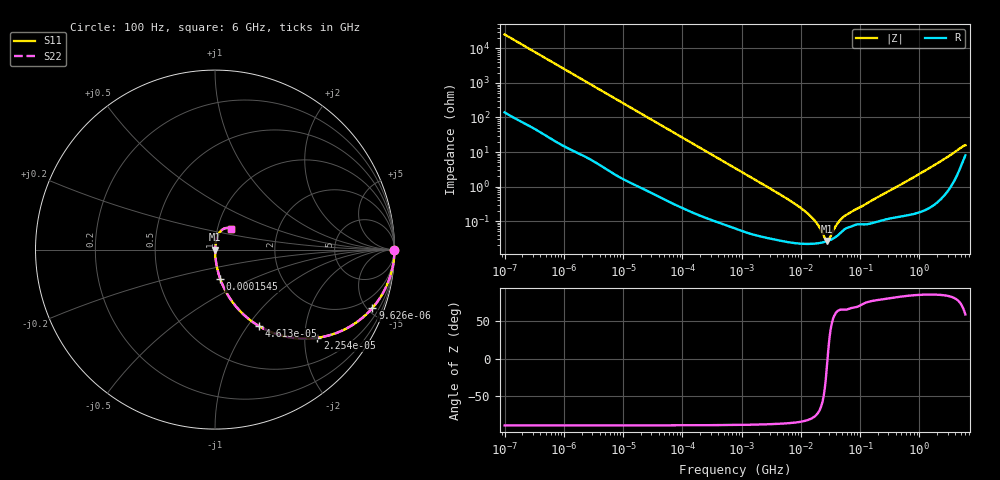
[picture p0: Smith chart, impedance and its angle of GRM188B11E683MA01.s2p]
!Murata Part Number: GRM188B11E683MA01
!These Parameters are Measured in Series Mode Connection
!Data Generated on Mar 30, 2021
!  o--ll--o
!Port1  Port2
!  o------o
!Operation Temp=25[degC], DC Bias Voltage=0[V]
!Freq. Start=100[Hz] Stop=6[GHz] 401[Steps]
# Hz S RI R 50
!Freq.(Hz) S11(Real) S11(Imag) S21(Real) S21(Imag) S12(Real) S12(Imag) S22(Real) S22(Imag)
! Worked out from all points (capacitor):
!   401 points, 100 Hz to 6 GHz, reference 50 ohm
!   read as one part in series: C = 62.4 nF near 109 Hz
!   lowest |Z| = 26.2 mohm at 27.84 MHz (marker M1)
!   series resonance near 28.28 MHz, so ESL is about 510 pH
!   S11 on the Smith chart (normalised r, x): 100 Hz: open; 9.626 kHz: 1.03, -5.38; 22.54 kHz: 1.02, -2.31; 46.13 kHz: 1.01, -1.13; 154.5 kHz: 1.00, -0.34; 6 GHz: 1.16, +0.27
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100  1 -0.00393  3.71e-05 0.00393  3.71e-05 0.00393  1 -0.00393
2008  0.9935 -0.0775  0.00654 0.0775  0.00654 0.0775  0.9935 -0.0775
5143  0.9608 -0.1908  0.0392 0.1908  0.0392 0.1908  0.9608 -0.1908
9626  0.8772 -0.3251  0.1228 0.3251  0.1228 0.3251  0.8772 -0.3251
14402  0.763 -0.4219  0.237 0.4219  0.237 0.4219  0.763 -0.4219
22537  0.5705 -0.4914  0.4295 0.4914  0.4295 0.4914  0.5705 -0.4914
40335  0.2961 -0.4527  0.7039 0.4527  0.7039 0.4527  0.2961 -0.4527
46134  0.244 -0.4256  0.756 0.4256  0.756 0.4256  0.244 -0.4256
78952  0.1009 -0.297  0.8991 0.297  0.8991 0.297  0.1009 -0.297
154540  0.0296 -0.1645  0.9704 0.1645  0.9704 0.1645  0.0296 -0.1645
774597  0.00177 -0.0342  0.9982 0.0342  0.9982 0.0342  0.00177 -0.0342
6644369  0.000253 -0.00385  0.9997 0.00385  0.9997 0.00385  0.000253 -0.00385
1.555665e7  0.00022 -0.00122  0.9998 0.00122  0.9998 0.00122  0.00022 -0.00122
1.946e7  0.000227 -0.000737  0.9998 0.000737  0.9998 0.000737  0.000227 -0.000737
2.545746e7  0.000249 -0.000203  0.9998 0.000203  0.9998 0.000203  0.000249 -0.000203
2.784235e7  0.00026 -2.95e-05  0.9997 2.95e-05  0.9997 2.95e-05  0.00026 -2.95e-05
3.045065e7  0.000276 0.000144  0.9997 -0.000144  0.9997 -0.000144  0.000276 0.000144
4.165952e7  0.000378 0.000765  0.9996 -0.000765  0.9996 -0.000765  0.000378 0.000765
5.449875e7  0.000574 0.00126  0.9994 -0.00126  0.9994 -0.00126  0.000574 0.00126
3.124326e8  0.00123 0.00738  0.9988 -0.00738  0.9988 -0.00738  0.00123 0.00738
2.931063e9  0.0116 0.0686  0.9884 -0.0686  0.9884 -0.0686  0.0116 0.0686
6e9  0.0884 0.1138  0.9116 -0.1138  0.9116 -0.1138  0.0884 0.1138
